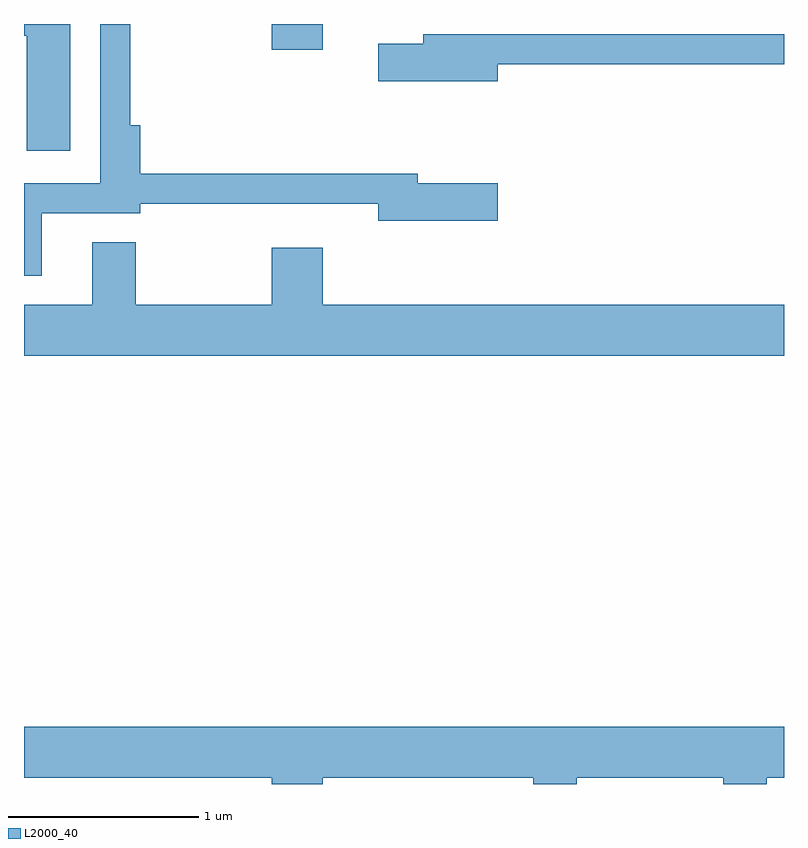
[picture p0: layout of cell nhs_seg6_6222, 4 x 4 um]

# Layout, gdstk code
import gdstk
lib = gdstk.Library(unit=1e-6, precision=1e-09)
def R(c, l, rs):  # rectangles x0, y0, x1, y1
    for r in rs: c.add(gdstk.rectangle(r[:2], r[2:], *l))
def P(c, l, *ps):  # polygons
    for p in ps: c.add(gdstk.Polygon(p, *l))
L2000_40 = (2000, 40)

nhs_seg6_6222 = lib.new_cell('nhs_seg6_6222')
R(nhs_seg6_6222, L2000_40, [(374.916,1616.026,375.184,1616.162)])
P(nhs_seg6_6222, L2000_40, [(373.704,1615.166),(374.224,1615.166),(374.224,1615.216),(375.476,1615.216),(375.476,1615.126),(376.104,1615.126),(376.104,1615.324),(375.684,1615.324),(375.684,1615.374),(374.224,1615.374),(374.224,1615.629),(374.169,1615.629),(374.169,1616.162),(374.011,1616.162),(374.011,1615.324),(373.611,1615.324),(373.611,1614.838),(373.704,1614.838)],
  [(373.854,1616.162),(373.611,1616.162),(373.611,1616.101),(373.626,1616.101),(373.626,1615.496),(373.854,1615.496)],
  [(376.104,1615.951),(377.611,1615.951),(377.611,1616.109),(375.711,1616.109),(375.711,1616.059),(375.476,1616.059),(375.476,1615.861),(376.104,1615.861)],
  [(377.611,1614.684),(375.184,1614.684),(375.184,1614.984),(374.916,1614.984),(374.916,1614.684),(374.199,1614.684),(374.199,1615.014),(373.971,1615.014),(373.971,1614.684),(373.611,1614.684),(373.611,1614.416),(377.611,1614.416)],
  [(375.184,1612.196),(376.291,1612.196),(376.291,1612.162),(376.519,1612.162),(376.519,1612.196),(377.291,1612.196),(377.291,1612.162),(377.519,1612.162),(377.519,1612.196),(377.611,1612.196),(377.611,1612.464),(373.611,1612.464),(373.611,1612.196),(374.916,1612.196),(374.916,1612.162),(375.184,1612.162)])

lib.write_gds('nhs_seg6_6222.gds')
